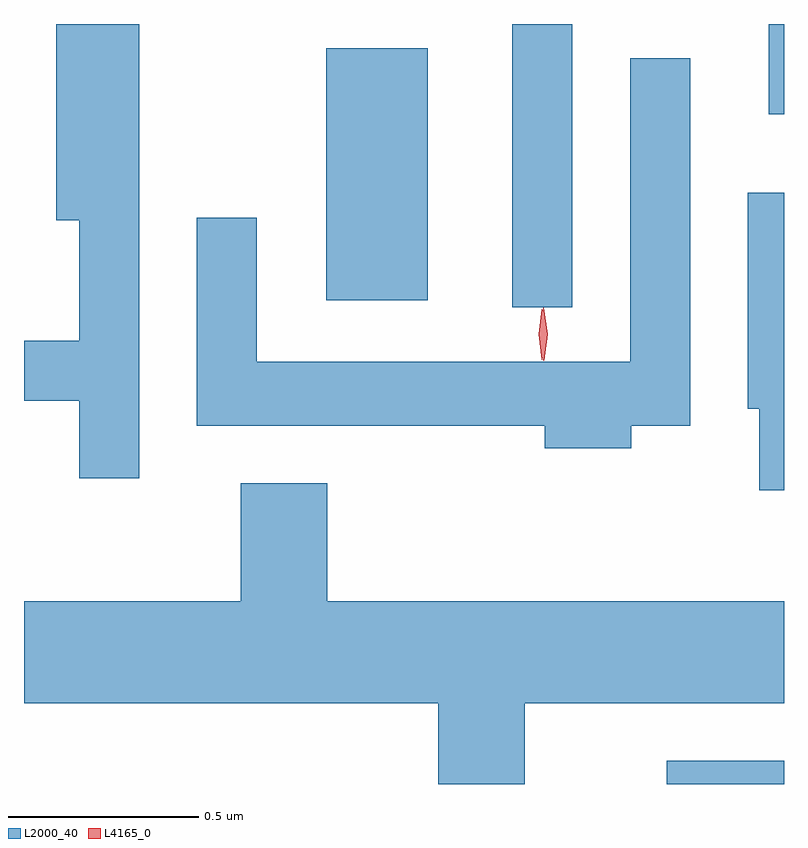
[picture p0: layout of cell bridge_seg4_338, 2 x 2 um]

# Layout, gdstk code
import gdstk
lib = gdstk.Library(unit=1e-6, precision=1e-09)
def R(c, l, rs):  # rectangles x0, y0, x1, y1
    for r in rs: c.add(gdstk.rectangle(r[:2], r[2:], *l))
def P(c, l, *ps):  # polygons
    for p in ps: c.add(gdstk.Polygon(p, *l))
L2000_40 = (2000, 40)
L4165_0 = (4165, 0)

bridge_seg4_338 = lib.new_cell('bridge_seg4_338')
R(bridge_seg4_338, L2000_40, [(724.543,1272.323,724.851,1272.384), (724.136,1273.578,724.294,1274.323), (723.646,1273.596,723.914,1274.259), (724.811,1274.086,724.851,1274.323)])
P(bridge_seg4_338, L2000_40, [(723.154,1274.323),(722.936,1274.323),(722.936,1273.806),(722.996,1273.806),(722.996,1273.489),(722.851,1273.489),(722.851,1273.331),(722.996,1273.331),(722.996,1273.128),(723.154,1273.128)],
  [(724.449,1273.266),(724.604,1273.266),(724.604,1274.233),(724.446,1274.233),(724.446,1273.434),(723.464,1273.434),(723.464,1273.813),(723.306,1273.813),(723.306,1273.266),(724.221,1273.266),(724.221,1273.206),(724.449,1273.206)],
  [(724.851,1273.879),(724.756,1273.879),(724.756,1273.311),(724.786,1273.311),(724.786,1273.096),(724.851,1273.096)],
  [(724.169,1272.536),(724.851,1272.536),(724.851,1272.804),(723.649,1272.804),(723.649,1273.114),(723.421,1273.114),(723.421,1272.804),(722.851,1272.804),(722.851,1272.536),(723.941,1272.536),(723.941,1272.323),(724.169,1272.323)])
P(bridge_seg4_338, L4165_0, [(724.215,1273.439),(724.214,1273.44),(724.205,1273.506),(724.214,1273.572),(724.215,1273.573),(724.215,1273.572),(724.225,1273.506),(724.215,1273.44)],
  [(724.219,1273.437),(724.218,1273.438),(724.209,1273.507),(724.218,1273.576),(724.218,1273.576),(724.219,1273.576),(724.229,1273.507),(724.22,1273.438)])

lib.write_gds('bridge_seg4_338.gds')
